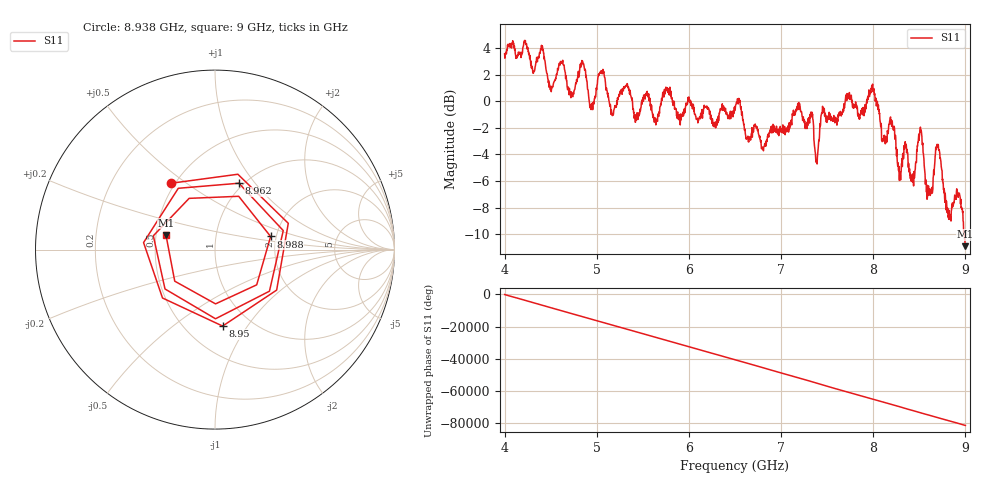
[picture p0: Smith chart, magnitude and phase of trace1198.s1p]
! Created with skrf 1.8.0 (http://scikit-rf.org).
# Hz S RI R 50.0
!freq ReS11 ImS11
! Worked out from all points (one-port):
!   1601 points, 4 GHz to 9 GHz, reference 50 ohm
!   lowest |S11| = -10.9 dB at 9 GHz (marker M1), VSWR 1.80, Z = 28.2 + j4.97 ohm
!   |S11| at or under -10 dB: 8.988445 GHz to end of sweep
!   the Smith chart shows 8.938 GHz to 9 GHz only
!   S11 on the Smith chart (normalised r, x): 8.938 GHz: 0.47, +0.44; 8.95 GHz: 0.74, -0.78; 8.962 GHz: 0.95, +0.83; 8.988 GHz: 1.87, +0.30; 9 GHz: 0.56, +0.10
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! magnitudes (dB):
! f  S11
! 4 GHz  3.6
! 4.625 GHz  2.9
! 4.725 GHz  0.6
! 4.853 GHz  2.8
! 4.944 GHz  -0.6
! 5.05 GHz  2.3
! 5.25 GHz  0.6
! 5.875 GHz  -0.9
! 6.5 GHz  -0.5
! 6.809 GHz  -3.7
! 7.125 GHz  -1.1
! 7.325 GHz  -0.9
! 7.388 GHz  -4.5
! 7.456 GHz  -0.8
! 7.75 GHz  0.4
! 7.994 GHz  1.3
! 8.284 GHz  -6.0
! 8.375 GHz  -3.9
! 8.428 GHz  -6.1
! 8.512 GHz  -1.9
! 8.609 GHz  -7.0
! 8.7 GHz  -3.5
! 8.812 GHz  -8.7
! 8.938 GHz  -7.0
! 8.95 GHz  -7.4
! 8.962 GHz  -8.1
! 8.988 GHz  -9.9
! 9 GHz  -10.9
